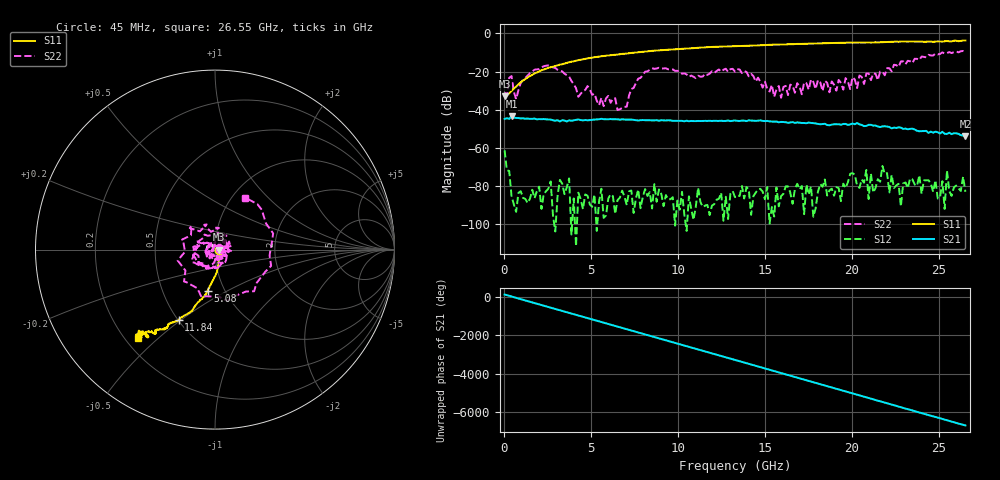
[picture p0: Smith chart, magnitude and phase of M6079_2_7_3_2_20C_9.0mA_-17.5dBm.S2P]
!  2-Port S-parameters saved by WinCal
! VAR MeasName=S-Parameters (CALIBRATED_DATA) read from VNA (C)
! VAR MeasDate=10/5/2015 6:13:15 PM
! VAR NAME=M6079_2_7_3_2_20C_9.0mA_-17.5dBm
! VAR FILENAME=M6079_2_7_3_2_20C_9.0mA_-17.5dBm.S2P
! VAR DATE=10/5/2015 6:13:15 PM
! VAR PHYS_PORTS=2,1
! VAR ObjTypeName=DATASET
! VAR IndexType=Frequency
# Hz S RI R 50
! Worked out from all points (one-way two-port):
!   201 points, 45 MHz to 26.55 GHz, reference 50 ohm
!   highest |S21| = -43.49 dB at 442.5 MHz (marker M1); lowest = -54.0 dB at 26.55 GHz (marker M2)
!   lowest |S11| = -32.9 dB at 45 MHz (marker M3), VSWR 1.05, Z = 52.3 - j0.127 ohm
!   |S11| at or under -10 dB: start of sweep to 7.589 GHz
!   |S22| runs from -40.1 to -9.2 dB; largest |S21 - S12| = 0.0066
!   S11 on the Smith chart (normalised r, x): 45 MHz: 1.05, -0.00; 5.08 GHz: 0.83, -0.40; 11.84 GHz: 0.50, -0.49; 26.55 GHz: 0.25, -0.43
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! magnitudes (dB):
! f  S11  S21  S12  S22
! 45 MHz  -32.9  -44.8  -61.3  -31.0
! 442.5 MHz  -30.2  -43.5  -85.2  -22.4
! 707.5 MHz  -27.9  -44.3  -93.6  -34.6
! 2.43 GHz  -18.5  -45.1  -82.8  -16.9
! 4.55 GHz  -13.6  -45.6  -92.2  -30.2
! 5.08 GHz  -12.7  -45.3  -91.0  -32.2
! 7.067 GHz  -10.6  -45.2  -90.1  -38.4
! 7.73 GHz  -9.8  -45.7  -81.9  -23.7
! 8.922 GHz  -8.9  -45.8  -81.9  -18.0
! 11.84 GHz  -7.1  -45.9  -95.3  -21.1
! 13.29 GHz  -6.7  -45.7  -85.9  -20.0
! 15.55 GHz  -5.9  -46.3  -96.1  -33.3
! 17.8 GHz  -5.4  -47.1  -96.2  -25.4
! 20.45 GHz  -4.8  -47.7  -81.1  -22.1
! 20.85 GHz  -4.8  -48.5  -71.6  -21.0
! 21.38 GHz  -4.6  -48.3  -81.1  -21.1
! 21.77 GHz  -4.6  -48.8  -69.6  -20.0
! 22.17 GHz  -4.4  -49.1  -83.5  -18.3
! 25.35 GHz  -4.1  -52.7  -92.1  -10.5
! 25.48 GHz  -3.9  -52.7  -71.9  -10.3
! 25.62 GHz  -4.2  -52.1  -82.7  -9.7
! 26.55 GHz  -3.7  -54.0  -83.1  -9.5
